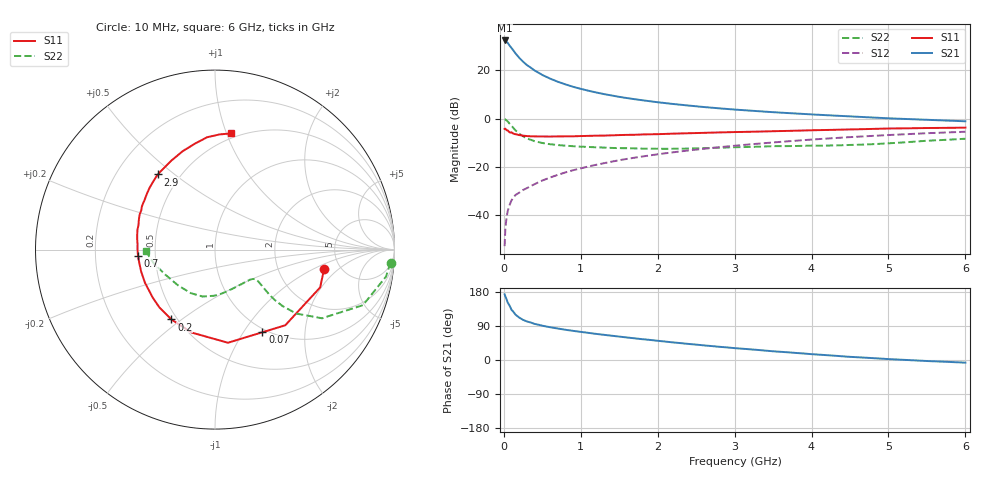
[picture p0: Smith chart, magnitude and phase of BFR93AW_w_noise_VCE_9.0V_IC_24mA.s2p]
! Infineon Technologies  Discrete & RF Semiconductors
! BFR93AW
! VCE =  9.0 V,  IC =  24 mA
! Common Emitter S-Parameters:  Jan 2017
# GHz  S  MA  R  50
!  f  S11  S21  S12  S22
! GHz  MAG  ANG  MAG  ANG  MAG  ANG  MAG  ANG
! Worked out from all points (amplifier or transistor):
!   77 points, 10 MHz to 6 GHz, reference 50 ohm
!   highest |S21| = 32.4 dB at 10 MHz (marker M1)
!   |S21| within 3 dB of that: start of sweep to 96.81 MHz
!   unconditionally stable (mu >= 1): 663.3 MHz to 2.05 GHz
!   at 130 MHz: K = 0.46, MSG = 30.2 dB, |S12| = -32.4 dB
!   at 2.2 GHz: K = 0.99, MSG = 10.0 dB, |S12| = -13.9 dB
!   at 6 GHz: K = 0.86, MSG = 2.2 dB, |S12| = -5.4 dB
!   lowest NFmin = 1.63 dB at 450 MHz
!   S11 on the Smith chart (normalised r, x): 10 MHz: 3.76, -1.29; 70 MHz: 0.95, -1.22; 200 MHz: 0.47, -0.46; 700 MHz: 0.40, -0.03; 2.9 GHz: 0.38, +0.44; 6 GHz: 0.46, +1.04
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0.01  0.6177 -9.9  41.75 173.3  0.0023 87.9  0.981 -4.3
0.02  0.6226 -19.8  41.49 167.8  0.0054 87.7  0.9645 -9.0
0.05  0.5754 -47.1  37.27 151.7  0.0122 70.5  0.8804 -20.6
0.07  0.5307 -60.2  33.58 145.1  0.0155 66.5  0.8076 -24.8
0.1  0.524 -82.1  29.15 132.3  0.0205 62.9  0.7087 -32.7
0.15  0.4801 -105.7  22.72 120.0  0.0263 57.9  0.5767 -38.2
0.2  0.4589 -122.0  18.27 111.9  0.0295 58.1  0.4903 -39.9
0.25  0.4471 -133.8  15.18 105.9  0.0335 58.1  0.4332 -40.1
0.3  0.4381 -142.4  12.91 101.7  0.0366 59.7  0.3907 -39.6
0.4  0.4317 -154.6  9.963 95.2  0.0442 62.6  0.3427 -38.1
0.5  0.4294 -163.5  8.06 90.5  0.0526 64.5  0.3149 -37.0
0.6  0.4282 -170.2  6.787 86.5  0.0605 66.1  0.2969 -36.3
0.7  0.4303 -175.4  5.847 83.1  0.0688 67.8  0.2855 -36.2
0.9  0.4327 175.9  4.589 76.9  0.0859 68.5  0.27 -37.3
1.1  0.4418 168.8  3.801 71.6  0.1028 69.1  0.2603 -39.7
1.5  0.4587 157.2  2.84 61.8  0.1385 68.1  0.2463 -47.2
2.1  0.4849 142.8  2.107 48.6  0.1927 64.7  0.2386 -63.8
2.9  0.5252 127.1  1.595 33.2  0.2665 58.6  0.2542 -88.6
3.1  0.5332 123.4  1.51 29.8  0.2852 56.8  0.2588 -94.2
4.1  0.5812 106.6  1.206 14.1  0.3794 47.1  0.2775 -122.7
5.1  0.63 92.7  1.006 1.4  0.4676 36.2  0.3165 -156.4
6  0.6537 82.0  0.885 -7.0  0.5382 26.0  0.3854 -178.8
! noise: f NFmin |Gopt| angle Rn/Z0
0.45  1.63  0.16  169  0.16
0.9  1.9  0.24  180  0.16
1.9  2.91  0.49  -137  0.25
2.4  3.56  0.55  -125  0.49
